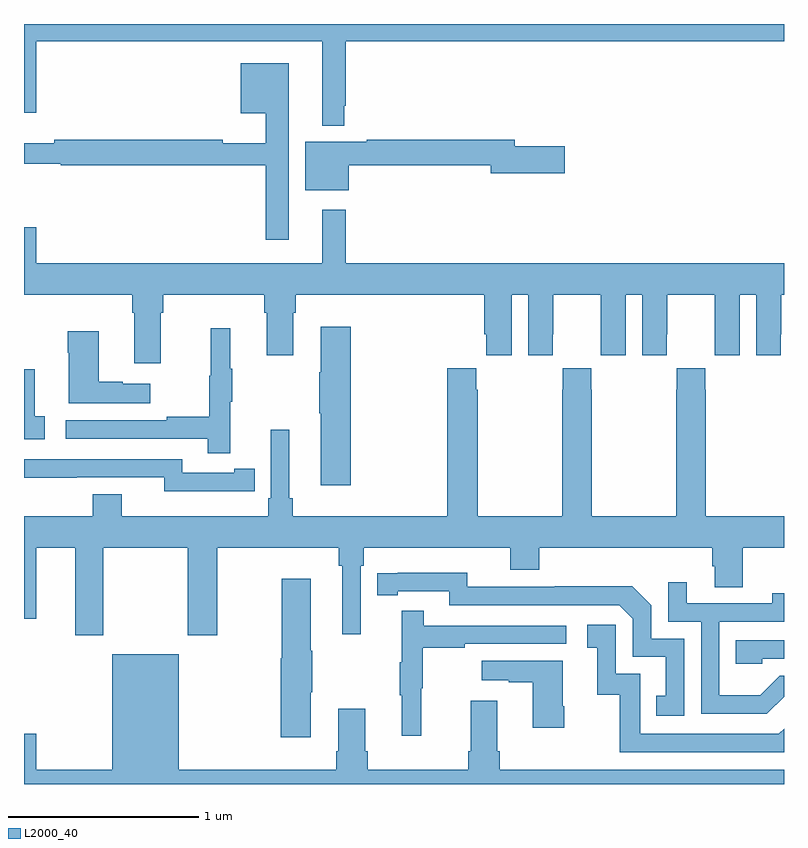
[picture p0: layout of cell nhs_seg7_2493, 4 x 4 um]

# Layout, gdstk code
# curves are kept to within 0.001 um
import gdstk
lib = gdstk.Library(unit=1e-6, precision=1e-09)
def P(c, l, *ps):  # polygons
    for p in ps: c.add(gdstk.Polygon(p, *l))
L2000_40 = (2000, 40)

nhs_seg7_2493 = lib.new_cell('nhs_seg7_2493')
P(nhs_seg7_2493, L2000_40, [(274.686,1041.571),(274.693,1041.571),(274.693,1041.908),(277,1041.908),(277,1042),(273,1042),(273,1041.534),(273.064,1041.534),(273.064,1041.908),(274.571,1041.908),(274.571,1041.464),(274.686,1041.464)],
  [(274.393,1041.793),(274.142,1041.793),(274.142,1041.53),(274.272,1041.53),(274.272,1041.373),(274.046,1041.373),(274.046,1041.392),(273.16,1041.392),(273.16,1041.373),(273,1041.373),(273,1041.264),(273.193,1041.264),(273.193,1041.256),(274.272,1041.256),(274.272,1040.865),(274.393,1040.865)],
  [(274.708,1041.256),(275.456,1041.256),(275.456,1041.214),(275.845,1041.214),(275.845,1041.356),(275.584,1041.356),(275.584,1041.392),(274.804,1041.392),(274.804,1041.379),(274.481,1041.379),(274.481,1041.125),(274.708,1041.125)],
  [(273.721,1040.48),(273.734,1040.48),(273.734,1040.576),(274.265,1040.576),(274.265,1040.48),(274.277,1040.48),(274.277,1040.256),(274.417,1040.256),(274.417,1040.48),(274.43,1040.48),(274.43,1040.576),(275.423,1040.576),(275.423,1040.368),(275.432,1040.368),(275.432,1040.256),(275.566,1040.256),(275.566,1040.576),(275.654,1040.576),(275.654,1040.256),(275.784,1040.256),(275.784,1040.368),(275.785,1040.368),(275.785,1040.576),(276.035,1040.576),(276.035,1040.368),(276.036,1040.368),(276.036,1040.256),(276.166,1040.256),(276.166,1040.576),(276.254,1040.576),(276.254,1040.256),(276.384,1040.256),(276.384,1040.368),(276.385,1040.368),(276.385,1040.576),(276.635,1040.576),(276.635,1040.368),(276.636,1040.368),(276.636,1040.256),(276.766,1040.256),(276.766,1040.576),(276.854,1040.576),(276.854,1040.256),(276.984,1040.256),(276.984,1040.368),(276.985,1040.368),(276.985,1040.576),(277,1040.576),(277,1040.74),(274.693,1040.74),(274.693,1041.022),(274.571,1041.022),(274.571,1040.74),(273.064,1040.74),(273.064,1040.929),(273,1040.929),(273,1040.576),(273.569,1040.576),(273.569,1040.48),(273.581,1040.48),(273.581,1040.214),(273.721,1040.214)],
  [(274.721,1040.407),(274.562,1040.407),(274.562,1040.168),(274.555,1040.168),(274.555,1039.951),(274.562,1039.951),(274.562,1039.572),(274.721,1039.572)],
  [(274.085,1040.011),(274.096,1040.011),(274.096,1040.185),(274.085,1040.185),(274.085,1040.398),(273.982,1040.398),(273.982,1040.148),(273.975,1040.148),(273.975,1039.934),(273.751,1039.934),(273.751,1039.914),(273.219,1039.914),(273.219,1039.818),(273.967,1039.818),(273.967,1039.74),(274.085,1039.74)],
  [(273.664,1040.107),(273.521,1040.107),(273.521,1040.117),(273.394,1040.117),(273.394,1040.382),(273.229,1040.382),(273.229,1040.27),(273.236,1040.27),(273.236,1040.003),(273.664,1040.003)],
  [(276.623,1039.146),(276.635,1039.146),(276.635,1039.036),(276.783,1039.036),(276.783,1039.244),(277,1039.244),(277,1039.408),(276.588,1039.408),(276.588,1040.075),(276.585,1040.075),(276.585,1040.188),(276.435,1040.188),(276.435,1040.075),(276.433,1040.075),(276.433,1039.408),(275.988,1039.408),(275.988,1040.075),(275.985,1040.075),(275.985,1040.188),(275.835,1040.188),(275.835,1040.075),(275.833,1040.075),(275.833,1039.408),(275.388,1039.408),(275.388,1040.075),(275.381,1040.075),(275.381,1040.188),(275.228,1040.188),(275.228,1039.408),(274.415,1039.408),(274.415,1039.504),(274.396,1039.504),(274.396,1039.864),(274.299,1039.864),(274.299,1039.504),(274.286,1039.504),(274.286,1039.408),(273.514,1039.408),(273.514,1039.525),(273.362,1039.525),(273.362,1039.408),(273,1039.408),(273,1038.87),(273.064,1038.87),(273.064,1039.244),(273.269,1039.244),(273.269,1038.783),(273.417,1038.783),(273.417,1039.244),(273.862,1039.244),(273.862,1038.783),(274.017,1038.783),(274.017,1039.244),(274.657,1039.244),(274.657,1039.148),(274.676,1039.148),(274.676,1038.789),(274.773,1038.789),(274.773,1039.148),(274.787,1039.148),(274.787,1039.244),(275.558,1039.244),(275.558,1039.127),(275.711,1039.127),(275.711,1039.244),(276.623,1039.244)],
  [(273.109,1039.935),(273.056,1039.935),(273.056,1040.182),(273,1040.182),(273,1039.815),(273.109,1039.815)],
  [(274.106,1039.542),(274.214,1039.542),(274.214,1039.658),(274.106,1039.658),(274.106,1039.638),(273.834,1039.638),(273.834,1039.71),(273,1039.71),(273,1039.613),(273.278,1039.613),(273.278,1039.614),(273.738,1039.614),(273.738,1039.541),(274.106,1039.541)],
  [(276.474,1038.765),(276.3,1038.765),(276.3,1038.942),(276.202,1039.04),(275.794,1039.04),(275.794,1039.038),(275.334,1039.038),(275.334,1039.111),(274.858,1039.11),(274.858,1038.994),(274.966,1038.994),(274.966,1039.014),(275.238,1039.014),(275.238,1038.942),(276.132,1038.942),(276.204,1038.87),(276.204,1038.669),(276.377,1038.669),(276.377,1038.465),(276.328,1038.465),(276.328,1038.36),(276.474,1038.36)],
  [(274.51,1038.484),(274.518,1038.484),(274.518,1038.701),(274.51,1038.701),(274.51,1039.081),(274.357,1039.081),(274.357,1038.663),(274.352,1038.663),(274.352,1038.246),(274.51,1038.246)],
  [(277,1038.459),(277,1038.57),(276.978,1038.57),(276.874,1038.466),(276.66,1038.466),(276.66,1038.855),(277,1038.855),(277,1039.003),(276.938,1039.003),(276.938,1038.951),(276.487,1038.951),(276.487,1039.063),(276.39,1039.063),(276.39,1038.855),(276.564,1038.855),(276.564,1038.369),(276.91,1038.369)],
  [(275.09,1038.504),(275.098,1038.504),(275.098,1038.718),(275.321,1038.718),(275.321,1038.738),(275.854,1038.738),(275.854,1038.834),(275.105,1038.834),(275.105,1038.913),(274.988,1038.913),(274.988,1038.641),(274.977,1038.641),(274.977,1038.467),(274.988,1038.467),(274.988,1038.255),(275.09,1038.255)],
  [(277,1038.292),(276.972,1038.264),(276.243,1038.264),(276.243,1038.579),(276.114,1038.579),(276.114,1038.838),(275.964,1038.838),(275.964,1038.717),(276.017,1038.717),(276.017,1038.471),(276.135,1038.471),(276.135,1038.168),(277,1038.168)],
  [(276.885,1038.66),(277,1038.66),(277,1038.756),(276.745,1038.756),(276.745,1038.633),(276.885,1038.633)],
  [(277,1038.076),(275.504,1038.076),(275.504,1038.172),(275.491,1038.172),(275.491,1038.439),(275.351,1038.439),(275.351,1038.172),(275.339,1038.172),(275.339,1038.076),(274.808,1038.076),(274.808,1038.172),(274.795,1038.172),(274.795,1038.397),(274.655,1038.397),(274.655,1038.172),(274.643,1038.172),(274.643,1038.076),(273.814,1038.076),(273.814,1038.682),(273.464,1038.682),(273.464,1038.076),(273.064,1038.076),(273.064,1038.265),(273,1038.265),(273,1038),(277,1038)],
  [(275.844,1038.409),(275.836,1038.409),(275.836,1038.649),(275.409,1038.649),(275.409,1038.545),(275.552,1038.545),(275.552,1038.535),(275.678,1038.535),(275.678,1038.297),(275.844,1038.297)])

lib.write_gds('nhs_seg7_2493.gds')
